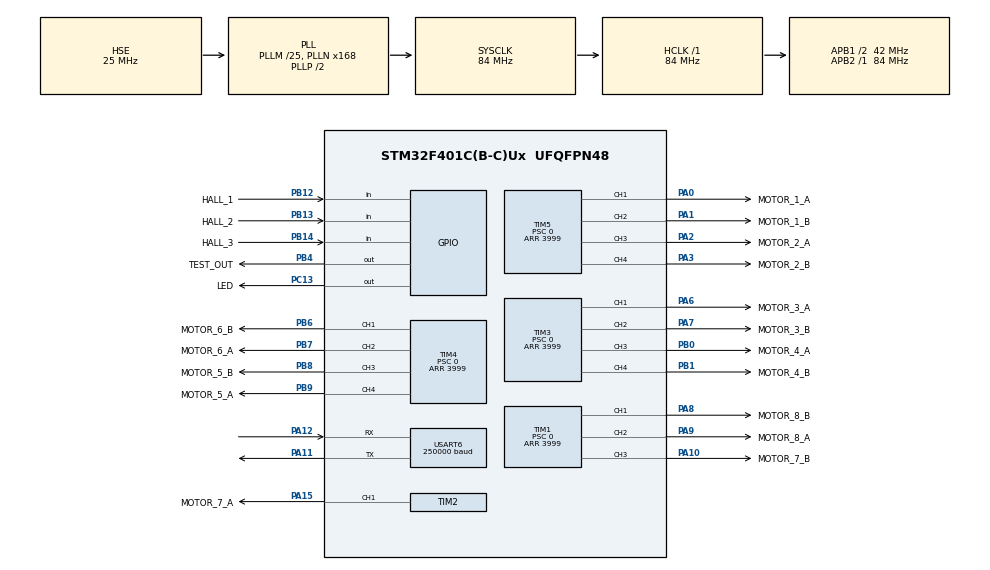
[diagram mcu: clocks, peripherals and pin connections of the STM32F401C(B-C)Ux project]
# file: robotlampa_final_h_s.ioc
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Mcu.Family=STM32F4
Mcu.Name=STM32F401C(B-C)Ux
Mcu.Package=UFQFPN48
NVIC.PriorityGroup=NVIC_PRIORITYGROUP_4
NVIC.TIM1_BRK_TIM9_IRQn=true\:0\:0\:false\:false\:true\:true\:true\:true
NVIC.TIM2_IRQn=true\:0\:0\:false\:false\:true\:true\:true\:true
NVIC.USART6_IRQn=true\:0\:0\:false\:false\:true\:true\:true\:true
PA0-WKUP.GPIO_Label=MOTOR_1_A
PA0-WKUP.GPIO_Speed=GPIO_SPEED_FREQ_VERY_HIGH
PA0-WKUP.Signal=S_TIM5_CH1
PA1.GPIO_Label=MOTOR_1_B
PA1.GPIO_Speed=GPIO_SPEED_FREQ_VERY_HIGH
PA1.Signal=S_TIM5_CH2
PA10.GPIO_Label=MOTOR_7_B
PA10.GPIO_Speed=GPIO_SPEED_FREQ_VERY_HIGH
PA10.Signal=S_TIM1_CH3
PA11.Mode=Asynchronous
PA11.Signal=USART6_TX
PA12.Mode=Asynchronous
PA12.Signal=USART6_RX
PA13.Mode=Serial_Wire
PA13.Signal=SYS_JTMS-SWDIO
PA14.Mode=Serial_Wire
PA14.Signal=SYS_JTCK-SWCLK
PA15.GPIO_Label=MOTOR_7_A
PA15.GPIO_Speed=GPIO_SPEED_FREQ_VERY_HIGH
PA15.Signal=S_TIM2_CH1_ETR
PA2.GPIO_Label=MOTOR_2_A
PA2.GPIO_Speed=GPIO_SPEED_FREQ_VERY_HIGH
PA2.Signal=S_TIM5_CH3
PA3.GPIO_Label=MOTOR_2_B
PA3.GPIO_Speed=GPIO_SPEED_FREQ_VERY_HIGH
PA3.Signal=S_TIM5_CH4
PA6.GPIO_Label=MOTOR_3_A
PA6.GPIO_Speed=GPIO_SPEED_FREQ_VERY_HIGH
PA6.Signal=S_TIM3_CH1
PA7.GPIO_Label=MOTOR_3_B
PA7.GPIO_Speed=GPIO_SPEED_FREQ_VERY_HIGH
PA7.Signal=S_TIM3_CH2
PA8.GPIO_Label=MOTOR_8_B
PA8.GPIO_Speed=GPIO_SPEED_FREQ_VERY_HIGH
PA8.Signal=S_TIM1_CH1
PA9.GPIO_Label=MOTOR_8_A
PA9.GPIO_Speed=GPIO_SPEED_FREQ_VERY_HIGH
PA9.Signal=S_TIM1_CH2
PB0.GPIO_Label=MOTOR_4_A
PB0.GPIO_Speed=GPIO_SPEED_FREQ_VERY_HIGH
PB0.Signal=S_TIM3_CH3
PB1.GPIO_Label=MOTOR_4_B
PB1.GPIO_Speed=GPIO_SPEED_FREQ_VERY_HIGH
PB1.Signal=S_TIM3_CH4
PB12.GPIO_Label=HALL_1
PB12.Signal=GPIO_Input
PB13.GPIO_Label=HALL_2
PB13.Signal=GPIO_Input
PB14.GPIO_Label=HALL_3
PB14.Signal=GPIO_Input
PB4.GPIO_Label=TEST_OUT
PB4.GPIO_Speed=GPIO_SPEED_FREQ_VERY_HIGH
PB4.Signal=GPIO_Output
PB6.GPIO_Label=MOTOR_6_B
PB6.GPIO_Speed=GPIO_SPEED_FREQ_VERY_HIGH
PB6.Signal=S_TIM4_CH1
PB7.GPIO_Label=MOTOR_6_A
PB7.GPIO_Speed=GPIO_SPEED_FREQ_VERY_HIGH
PB7.Signal=S_TIM4_CH2
PB8.GPIO_Label=MOTOR_5_B
PB8.GPIO_Speed=GPIO_SPEED_FREQ_VERY_HIGH
PB8.Signal=S_TIM4_CH3
PB9.GPIO_Label=MOTOR_5_A
PB9.GPIO_Speed=GPIO_SPEED_FREQ_VERY_HIGH
PB9.Signal=S_TIM4_CH4
PC13-ANTI_TAMP.GPIO_Label=LED
PC13-ANTI_TAMP.GPIO_Speed=GPIO_SPEED_FREQ_LOW
PC13-ANTI_TAMP.Signal=GPIO_Output
PH0\ -\ OSC_IN.Mode=HSE-External-Oscillator
PH0\ -\ OSC_IN.Signal=RCC_OSC_IN
PH1\ -\ OSC_OUT.Mode=HSE-External-Oscillator
PH1\ -\ OSC_OUT.Signal=RCC_OSC_OUT
ProjectManager.HeapSize=0x200
ProjectManager.StackSize=0x400
ProjectManager.TargetToolchain=STM32CubeIDE
RCC.48MHZClocksFreq_Value=42000000
RCC.AHBFreq_Value=84000000
RCC.APB1CLKDivider=RCC_HCLK_DIV2
RCC.APB1Freq_Value=42000000
RCC.APB1TimFreq_Value=84000000
RCC.APB2Freq_Value=84000000
RCC.APB2TimFreq_Value=84000000
RCC.CortexFreq_Value=84000000
RCC.HCLKFreq_Value=84000000
RCC.HSE_Timout=1000
RCC.HSE_VALUE=25000000
RCC.HSI_VALUE=16000000
RCC.LSE_Timout=10000
RCC.LSE_VALUE=32768
RCC.PLLM=25
RCC.PLLN=168
RCC.PLLSourceVirtual=RCC_PLLSOURCE_HSE
RCC.RCC_TIM_PRescaler_Selection=RCC_TIMPRES_DESACTIVATED
RCC.SYSCLKFreq_VALUE=84000000
RCC.SYSCLKSource=RCC_SYSCLKSOURCE_PLLCLK
RCC.VCOOutputFreq_Value=168000000
SH.S_TIM1_CH1.0=TIM1_CH1,PWM Generation1 CH1
SH.S_TIM1_CH2.0=TIM1_CH2,PWM Generation2 CH2
SH.S_TIM1_CH3.0=TIM1_CH3,PWM Generation3 CH3
SH.S_TIM2_CH1_ETR.0=TIM2_CH1,PWM Generation1 CH1
SH.S_TIM3_CH1.0=TIM3_CH1,PWM Generation1 CH1
SH.S_TIM3_CH2.0=TIM3_CH2,PWM Generation2 CH2
SH.S_TIM3_CH3.0=TIM3_CH3,PWM Generation3 CH3
SH.S_TIM3_CH4.0=TIM3_CH4,PWM Generation4 CH4
SH.S_TIM4_CH1.0=TIM4_CH1,PWM Generation1 CH1
SH.S_TIM4_CH2.0=TIM4_CH2,PWM Generation2 CH2
SH.S_TIM4_CH3.0=TIM4_CH3,PWM Generation3 CH3
SH.S_TIM4_CH4.0=TIM4_CH4,PWM Generation4 CH4
SH.S_TIM5_CH1.0=TIM5_CH1,PWM Generation1 CH1
SH.S_TIM5_CH2.0=TIM5_CH2,PWM Generation2 CH2
SH.S_TIM5_CH3.0=TIM5_CH3,PWM Generation3 CH3
SH.S_TIM5_CH4.0=TIM5_CH4,PWM Generation4 CH4
TIM1.AutoReloadPreload=TIM_AUTORELOAD_PRELOAD_ENABLE
TIM1.Channel-PWM\ Generation1\ CH1=TIM_CHANNEL_1
TIM1.Channel-PWM\ Generation2\ CH2=TIM_CHANNEL_2
TIM1.Channel-PWM\ Generation3\ CH3=TIM_CHANNEL_3
TIM1.Period=3999
TIM1.Prescaler=0
TIM2.AutoReloadPreload=TIM_AUTORELOAD_PRELOAD_ENABLE
TIM2.Channel-PWM\ Generation1\ CH1=TIM_CHANNEL_1
TIM2.Period=3999
TIM2.Prescaler=0
TIM3.AutoReloadPreload=TIM_AUTORELOAD_PRELOAD_ENABLE
TIM3.Channel-PWM\ Generation1\ CH1=TIM_CHANNEL_1
TIM3.Channel-PWM\ Generation2\ CH2=TIM_CHANNEL_2
TIM3.Channel-PWM\ Generation3\ CH3=TIM_CHANNEL_3
TIM3.Channel-PWM\ Generation4\ CH4=TIM_CHANNEL_4
TIM3.Period=3999
TIM3.Prescaler=0
TIM4.AutoReloadPreload=TIM_AUTORELOAD_PRELOAD_ENABLE
TIM4.Channel-PWM\ Generation1\ CH1=TIM_CHANNEL_1
TIM4.Channel-PWM\ Generation2\ CH2=TIM_CHANNEL_2
TIM4.Channel-PWM\ Generation3\ CH3=TIM_CHANNEL_3
TIM4.Channel-PWM\ Generation4\ CH4=TIM_CHANNEL_4
TIM4.Period=3999
TIM4.Prescaler=0
TIM5.AutoReloadPreload=TIM_AUTORELOAD_PRELOAD_ENABLE
TIM5.Channel-PWM\ Generation1\ CH1=TIM_CHANNEL_1
TIM5.Channel-PWM\ Generation2\ CH2=TIM_CHANNEL_2
TIM5.Channel-PWM\ Generation3\ CH3=TIM_CHANNEL_3
TIM5.Channel-PWM\ Generation4\ CH4=TIM_CHANNEL_4
TIM5.Period=3999
TIM5.Prescaler=0
TIM9.AutoReloadPreload=TIM_AUTORELOAD_PRELOAD_ENABLE
TIM9.Period=999
TIM9.Prescaler=83
USART6.BaudRate=250000
USART6.StopBits=STOPBITS_2
USART6.VirtualMode=VM_ASYNC
VP_TIM1_VS_ClockSourceINT.Mode=Internal
VP_TIM2_VS_ClockSourceINT.Mode=Internal
VP_TIM3_VS_ClockSourceINT.Mode=Internal
VP_TIM4_VS_ClockSourceINT.Mode=Internal
VP_TIM5_VS_ClockSourceINT.Mode=Internal
VP_TIM9_VS_ClockSourceINT.Mode=Internal
board=custom

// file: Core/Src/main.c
/* USER CODE BEGIN Header */
/**
  ******************************************************************************
  * @file           : main.c
  * @brief          : Main program body
  ******************************************************************************
  * @attention
  *
  * Copyright (c) 2025 STMicroelectronics.
  * All rights reserved.
  *
  * This software is licensed under terms that can be found in the LICENSE file
  * in the root directory of this software component.
  * If no LICENSE file comes with this software, it is provided AS-IS.
  *
  ******************************************************************************
  */
/* USER CODE END Header */
#include "main.h"

/* USER CODE BEGIN Includes */
#include <my_main.h>
#include <interrupt_s.h>
#include <dmx_usart_s.h>
//#include <motor_1_drive_s.h>
//#include <motor_2_drive_s.h>
/* USER CODE END Includes */

TIM_HandleTypeDef htim1;
TIM_HandleTypeDef htim2;
TIM_HandleTypeDef htim3;
TIM_HandleTypeDef htim4;
TIM_HandleTypeDef htim5;
TIM_HandleTypeDef htim9;

UART_HandleTypeDef huart6;

/* USER CODE BEGIN PV */
uint8_t rx_buffer;

/* USER CODE END PV */

void SystemClock_Config(void);
static void MX_GPIO_Init(void);
static void MX_TIM2_Init(void);
static void MX_USART6_UART_Init(void);
static void MX_TIM1_Init(void);
static void MX_TIM3_Init(void);
static void MX_TIM4_Init(void);
static void MX_TIM5_Init(void);
static void MX_TIM9_Init(void);

/* USER CODE BEGIN 0 */
void tmp_leds(uint16_t duty)
{/*
	__HAL_TIM_SET_COMPARE(&htim1, TIM_CHANNEL_1, duty); // 50%?
	__HAL_TIM_SET_COMPARE(&htim1, TIM_CHANNEL_2, duty); // 50%?
	__HAL_TIM_SET_COMPARE(&htim1, TIM_CHANNEL_3, duty); // 50%?
	__HAL_TIM_SET_COMPARE(&htim2, TIM_CHANNEL_1, duty); // 50%?

	__HAL_TIM_SET_COMPARE(&htim3, TIM_CHANNEL_1, duty); // 50%?
	__HAL_TIM_SET_COMPARE(&htim3, TIM_CHANNEL_2, duty); // 50%?
	__HAL_TIM_SET_COMPARE(&htim3, TIM_CHANNEL_3, duty); // 50%?
	__HAL_TIM_SET_COMPARE(&htim3, TIM_CHANNEL_4, duty); // 50%?

	__HAL_TIM_SET_COMPARE(&htim4, TIM_CHANNEL_1, duty); // 50%?
	__HAL_TIM_SET_COMPARE(&htim4, TIM_CHANNEL_2, duty); // 50%?
	__HAL_TIM_SET_COMPARE(&htim4, TIM_CHANNEL_3, duty); // 50%?
	__HAL_TIM_SET_COMPARE(&htim4, TIM_CHANNEL_4, duty); // 50%?

	__HAL_TIM_SET_COMPARE(&htim5, TIM_CHANNEL_1, duty); // 50%?
	__HAL_TIM_SET_COMPARE(&htim5, TIM_CHANNEL_2, duty); // 50%?
	__HAL_TIM_SET_COMPARE(&htim5, TIM_CHANNEL_3, duty); // 50%?
	__HAL_TIM_SET_COMPARE(&htim5, TIM_CHANNEL_4, duty); // 50%?*/
}
/* USER CODE END 0 */

int main(void)
{

  /* MCU Configuration--------------------------------------------------------*/

  /* Reset of all peripherals, Initializes the Flash interface and the Systick. */
  HAL_Init();

  /* Configure the system clock */
  SystemClock_Config();

  /* Initialize all configured peripherals */
  MX_GPIO_Init();
  MX_TIM2_Init();
  MX_USART6_UART_Init();
  MX_TIM1_Init();
  MX_TIM3_Init();
  MX_TIM4_Init();
  MX_TIM5_Init();
  MX_TIM9_Init();
  /* USER CODE BEGIN 2 */

  my_main_init();

  HAL_TIM_Base_Start_IT(&htim9);

  HAL_TIM_PWM_Start(&htim1, TIM_CHANNEL_1);
  HAL_TIM_PWM_Start(&htim1, TIM_CHANNEL_2);
  HAL_TIM_PWM_Start(&htim1, TIM_CHANNEL_3);
  HAL_TIM_PWM_Start(&htim2, TIM_CHANNEL_1);

  HAL_TIM_PWM_Start(&htim3, TIM_CHANNEL_1);
  HAL_TIM_PWM_Start(&htim3, TIM_CHANNEL_2);
  HAL_TIM_PWM_Start(&htim3, TIM_CHANNEL_3);
  HAL_TIM_PWM_Start(&htim3, TIM_CHANNEL_4);

  HAL_TIM_PWM_Start(&htim4, TIM_CHANNEL_1);
  HAL_TIM_PWM_Start(&htim4, TIM_CHANNEL_2);
  HAL_TIM_PWM_Start(&htim4, TIM_CHANNEL_3);
  HAL_TIM_PWM_Start(&htim4, TIM_CHANNEL_4);

  HAL_TIM_PWM_Start(&htim5, TIM_CHANNEL_1);
  HAL_TIM_PWM_Start(&htim5, TIM_CHANNEL_2);
  HAL_TIM_PWM_Start(&htim5, TIM_CHANNEL_3);
  HAL_TIM_PWM_Start(&htim5, TIM_CHANNEL_4);

  HAL_UART_Receive_IT(&huart6, &rx_buffer, 1);
  //HAL_TIM_Base_Start_IT(&htim2);
  //HAL_TIM_Base_Start_IT(&htim5);

  //__HAL_TIM_SET_COMPARE(&htim2, TIM_CHANNEL_1, PWM_ON_DUTY); // set pwm duty
  //HAL_TIM_PWM_Start(&htim2, TIM_CHANNEL_1);					 // start tim2 pwm channel
  //htim2.Instance->CR1 &= ~TIM_CR1_ARPE; 					 // ARPE = 0 → shadow OFF

  //__HAL_TIM_SET_COMPARE(&htim5, TIM_CHANNEL_2, PWM_ON_DUTY); // set pwm duty
  //HAL_TIM_PWM_Start(&htim5, TIM_CHANNEL_2);					 // start tim5 pwm channel
  //htim5.Instance->CR1 &= ~TIM_CR1_ARPE; 					 // ARPE = 0 → shadow OFF

  /* USER CODE END 2 */

  /* Infinite loop */
  /* USER CODE BEGIN WHILE */
  while (1)
  {
	  my_main_loop();

    /* USER CODE END WHILE */

  }
}

void SystemClock_Config(void)
{
  RCC_OscInitTypeDef RCC_OscInitStruct = {0};
  RCC_ClkInitTypeDef RCC_ClkInitStruct = {0};

  /** Configure the main internal regulator output voltage
  */
  __HAL_RCC_PWR_CLK_ENABLE();
  __HAL_PWR_VOLTAGESCALING_CONFIG(PWR_REGULATOR_VOLTAGE_SCALE2);

  /** Initializes the RCC Oscillators according to the specified parameters
  * in the RCC_OscInitTypeDef structure.
  */
  RCC_OscInitStruct.OscillatorType = RCC_OSCILLATORTYPE_HSE;
  RCC_OscInitStruct.HSEState = RCC_HSE_ON;
  RCC_OscInitStruct.PLL.PLLState = RCC_PLL_ON;
  RCC_OscInitStruct.PLL.PLLSource = RCC_PLLSOURCE_HSE;
  RCC_OscInitStruct.PLL.PLLM = 25;
  RCC_OscInitStruct.PLL.PLLN = 168;
  RCC_OscInitStruct.PLL.PLLP = RCC_PLLP_DIV2;
  RCC_OscInitStruct.PLL.PLLQ = 4;
  if (HAL_RCC_OscConfig(&RCC_OscInitStruct) != HAL_OK)
  {
    Error_Handler();
  }

  /** Initializes the CPU, AHB and APB buses clocks
  */
  RCC_ClkInitStruct.ClockType = RCC_CLOCKTYPE_HCLK|RCC_CLOCKTYPE_SYSCLK
                              |RCC_CLOCKTYPE_PCLK1|RCC_CLOCKTYPE_PCLK2;
  RCC_ClkInitStruct.SYSCLKSource = RCC_SYSCLKSOURCE_PLLCLK;
  RCC_ClkInitStruct.AHBCLKDivider = RCC_SYSCLK_DIV1;
  RCC_ClkInitStruct.APB1CLKDivider = RCC_HCLK_DIV2;
  RCC_ClkInitStruct.APB2CLKDivider = RCC_HCLK_DIV1;

  if (HAL_RCC_ClockConfig(&RCC_ClkInitStruct, FLASH_LATENCY_2) != HAL_OK)
  {
    Error_Handler();
  }
}

static void MX_TIM1_Init(void)
{

  TIM_ClockConfigTypeDef sClockSourceConfig = {0};
  TIM_MasterConfigTypeDef sMasterConfig = {0};
  TIM_OC_InitTypeDef sConfigOC = {0};
  TIM_BreakDeadTimeConfigTypeDef sBreakDeadTimeConfig = {0};

  htim1.Instance = TIM1;
  htim1.Init.Prescaler = 0;
  htim1.Init.CounterMode = TIM_COUNTERMODE_UP;
  htim1.Init.Period = 3999;
  htim1.Init.ClockDivision = TIM_CLOCKDIVISION_DIV1;
  htim1.Init.RepetitionCounter = 0;
  htim1.Init.AutoReloadPreload = TIM_AUTORELOAD_PRELOAD_ENABLE;
  if (HAL_TIM_Base_Init(&htim1) != HAL_OK)
  {
    Error_Handler();
  }
  sClockSourceConfig.ClockSource = TIM_CLOCKSOURCE_INTERNAL;
  if (HAL_TIM_ConfigClockSource(&htim1, &sClockSourceConfig) != HAL_OK)
  {
    Error_Handler();
  }
  if (HAL_TIM_PWM_Init(&htim1) != HAL_OK)
  {
    Error_Handler();
  }
  sMasterConfig.MasterOutputTrigger = TIM_TRGO_RESET;
  sMasterConfig.MasterSlaveMode = TIM_MASTERSLAVEMODE_DISABLE;
  if (HAL_TIMEx_MasterConfigSynchronization(&htim1, &sMasterConfig) != HAL_OK)
  {
    Error_Handler();
  }
  sConfigOC.OCMode = TIM_OCMODE_PWM1;
  sConfigOC.Pulse = 0;
  sConfigOC.OCPolarity = TIM_OCPOLARITY_HIGH;
  sConfigOC.OCNPolarity = TIM_OCNPOLARITY_HIGH;
  sConfigOC.OCFastMode = TIM_OCFAST_DISABLE;
  sConfigOC.OCIdleState = TIM_OCIDLESTATE_RESET;
  sConfigOC.OCNIdleState = TIM_OCNIDLESTATE_RESET;
  if (HAL_TIM_PWM_ConfigChannel(&htim1, &sConfigOC, TIM_CHANNEL_1) != HAL_OK)
  {
    Error_Handler();
  }
  if (HAL_TIM_PWM_ConfigChannel(&htim1, &sConfigOC, TIM_CHANNEL_2) != HAL_OK)
  {
    Error_Handler();
  }
  if (HAL_TIM_PWM_ConfigChannel(&htim1, &sConfigOC, TIM_CHANNEL_3) != HAL_OK)
  {
    Error_Handler();
  }
  sBreakDeadTimeConfig.OffStateRunMode = TIM_OSSR_DISABLE;
  sBreakDeadTimeConfig.OffStateIDLEMode = TIM_OSSI_DISABLE;
  sBreakDeadTimeConfig.LockLevel = TIM_LOCKLEVEL_OFF;
  sBreakDeadTimeConfig.DeadTime = 0;
  sBreakDeadTimeConfig.BreakState = TIM_BREAK_DISABLE;
  sBreakDeadTimeConfig.BreakPolarity = TIM_BREAKPOLARITY_HIGH;
  sBreakDeadTimeConfig.AutomaticOutput = TIM_AUTOMATICOUTPUT_DISABLE;
  if (HAL_TIMEx_ConfigBreakDeadTime(&htim1, &sBreakDeadTimeConfig) != HAL_OK)
  {
    Error_Handler();
  }
  HAL_TIM_MspPostInit(&htim1);

}

static void MX_TIM2_Init(void)
{

  TIM_ClockConfigTypeDef sClockSourceConfig = {0};
  TIM_MasterConfigTypeDef sMasterConfig = {0};
  TIM_OC_InitTypeDef sConfigOC = {0};

  htim2.Instance = TIM2;
  htim2.Init.Prescaler = 0;
  htim2.Init.CounterMode = TIM_COUNTERMODE_UP;
  htim2.Init.Period = 3999;
  htim2.Init.ClockDivision = TIM_CLOCKDIVISION_DIV1;
  htim2.Init.AutoReloadPreload = TIM_AUTORELOAD_PRELOAD_ENABLE;
  if (HAL_TIM_Base_Init(&htim2) != HAL_OK)
  {
    Error_Handler();
  }
  sClockSourceConfig.ClockSource = TIM_CLOCKSOURCE_INTERNAL;
  if (HAL_TIM_ConfigClockSource(&htim2, &sClockSourceConfig) != HAL_OK)
  {
    Error_Handler();
  }
  if (HAL_TIM_PWM_Init(&htim2) != HAL_OK)
  {
    Error_Handler();
  }
  sMasterConfig.MasterOutputTrigger = TIM_TRGO_RESET;
  sMasterConfig.MasterSlaveMode = TIM_MASTERSLAVEMODE_DISABLE;
  if (HAL_TIMEx_MasterConfigSynchronization(&htim2, &sMasterConfig) != HAL_OK)
  {
    Error_Handler();
  }
  sConfigOC.OCMode = TIM_OCMODE_PWM1;
  sConfigOC.Pulse = 0;
  sConfigOC.OCPolarity = TIM_OCPOLARITY_HIGH;
  sConfigOC.OCFastMode = TIM_OCFAST_DISABLE;
  if (HAL_TIM_PWM_ConfigChannel(&htim2, &sConfigOC, TIM_CHANNEL_1) != HAL_OK)
  {
    Error_Handler();
  }
  HAL_TIM_MspPostInit(&htim2);

}

static void MX_TIM3_Init(void)
{

  TIM_ClockConfigTypeDef sClockSourceConfig = {0};
  TIM_MasterConfigTypeDef sMasterConfig = {0};
  TIM_OC_InitTypeDef sConfigOC = {0};

  htim3.Instance = TIM3;
  htim3.Init.Prescaler = 0;
  htim3.Init.CounterMode = TIM_COUNTERMODE_UP;
  htim3.Init.Period = 3999;
  htim3.Init.ClockDivision = TIM_CLOCKDIVISION_DIV1;
  htim3.Init.AutoReloadPreload = TIM_AUTORELOAD_PRELOAD_ENABLE;
  if (HAL_TIM_Base_Init(&htim3) != HAL_OK)
  {
    Error_Handler();
  }
  sClockSourceConfig.ClockSource = TIM_CLOCKSOURCE_INTERNAL;
  if (HAL_TIM_ConfigClockSource(&htim3, &sClockSourceConfig) != HAL_OK)
  {
    Error_Handler();
  }
  if (HAL_TIM_PWM_Init(&htim3) != HAL_OK)
  {
    Error_Handler();
  }
  sMasterConfig.MasterOutputTrigger = TIM_TRGO_RESET;
  sMasterConfig.MasterSlaveMode = TIM_MASTERSLAVEMODE_DISABLE;
  if (HAL_TIMEx_MasterConfigSynchronization(&htim3, &sMasterConfig) != HAL_OK)
  {
    Error_Handler();
  }
  sConfigOC.OCMode = TIM_OCMODE_PWM1;
  sConfigOC.Pulse = 0;
  sConfigOC.OCPolarity = TIM_OCPOLARITY_HIGH;
  sConfigOC.OCFastMode = TIM_OCFAST_DISABLE;
  if (HAL_TIM_PWM_ConfigChannel(&htim3, &sConfigOC, TIM_CHANNEL_1) != HAL_OK)
  {
    Error_Handler();
  }
  if (HAL_TIM_PWM_ConfigChannel(&htim3, &sConfigOC, TIM_CHANNEL_2) != HAL_OK)
  {
    Error_Handler();
  }
  if (HAL_TIM_PWM_ConfigChannel(&htim3, &sConfigOC, TIM_CHANNEL_3) != HAL_OK)
  {
    Error_Handler();
  }
  if (HAL_TIM_PWM_ConfigChannel(&htim3, &sConfigOC, TIM_CHANNEL_4) != HAL_OK)
  {
    Error_Handler();
  }
  HAL_TIM_MspPostInit(&htim3);

}

static void MX_TIM4_Init(void)
{

  TIM_ClockConfigTypeDef sClockSourceConfig = {0};
  TIM_MasterConfigTypeDef sMasterConfig = {0};
  TIM_OC_InitTypeDef sConfigOC = {0};

  htim4.Instance = TIM4;
  htim4.Init.Prescaler = 0;
  htim4.Init.CounterMode = TIM_COUNTERMODE_UP;
  htim4.Init.Period = 3999;
  htim4.Init.ClockDivision = TIM_CLOCKDIVISION_DIV1;
  htim4.Init.AutoReloadPreload = TIM_AUTORELOAD_PRELOAD_ENABLE;
  if (HAL_TIM_Base_Init(&htim4) != HAL_OK)
  {
    Error_Handler();
  }
  sClockSourceConfig.ClockSource = TIM_CLOCKSOURCE_INTERNAL;
  if (HAL_TIM_ConfigClockSource(&htim4, &sClockSourceConfig) != HAL_OK)
  {
    Error_Handler();
  }
  if (HAL_TIM_PWM_Init(&htim4) != HAL_OK)
  {
    Error_Handler();
  }
  sMasterConfig.MasterOutputTrigger = TIM_TRGO_RESET;
  sMasterConfig.MasterSlaveMode = TIM_MASTERSLAVEMODE_DISABLE;
  if (HAL_TIMEx_MasterConfigSynchronization(&htim4, &sMasterConfig) != HAL_OK)
  {
    Error_Handler();
  }
  sConfigOC.OCMode = TIM_OCMODE_PWM1;
  sConfigOC.Pulse = 0;
  sConfigOC.OCPolarity = TIM_OCPOLARITY_HIGH;
  sConfigOC.OCFastMode = TIM_OCFAST_DISABLE;
  if (HAL_TIM_PWM_ConfigChannel(&htim4, &sConfigOC, TIM_CHANNEL_1) != HAL_OK)
  {
    Error_Handler();
  }
  if (HAL_TIM_PWM_ConfigChannel(&htim4, &sConfigOC, TIM_CHANNEL_2) != HAL_OK)
  {
    Error_Handler();
  }
  if (HAL_TIM_PWM_ConfigChannel(&htim4, &sConfigOC, TIM_CHANNEL_3) != HAL_OK)
  {
    Error_Handler();
  }
  if (HAL_TIM_PWM_ConfigChannel(&htim4, &sConfigOC, TIM_CHANNEL_4) != HAL_OK)
  {
    Error_Handler();
  }
  HAL_TIM_MspPostInit(&htim4);

}

static void MX_TIM5_Init(void)
{

  TIM_ClockConfigTypeDef sClockSourceConfig = {0};
  TIM_MasterConfigTypeDef sMasterConfig = {0};
  TIM_OC_InitTypeDef sConfigOC = {0};

  htim5.Instance = TIM5;
  htim5.Init.Prescaler = 0;
  htim5.Init.CounterMode = TIM_COUNTERMODE_UP;
  htim5.Init.Period = 3999;
  htim5.Init.ClockDivision = TIM_CLOCKDIVISION_DIV1;
  htim5.Init.AutoReloadPreload = TIM_AUTORELOAD_PRELOAD_ENABLE;
  if (HAL_TIM_Base_Init(&htim5) != HAL_OK)
  {
    Error_Handler();
  }
  sClockSourceConfig.ClockSource = TIM_CLOCKSOURCE_INTERNAL;
  if (HAL_TIM_ConfigClockSource(&htim5, &sClockSourceConfig) != HAL_OK)
  {
    Error_Handler();
  }
  if (HAL_TIM_PWM_Init(&htim5) != HAL_OK)
  {
    Error_Handler();
  }
  sMasterConfig.MasterOutputTrigger = TIM_TRGO_RESET;
  sMasterConfig.MasterSlaveMode = TIM_MASTERSLAVEMODE_DISABLE;
  if (HAL_TIMEx_MasterConfigSynchronization(&htim5, &sMasterConfig) != HAL_OK)
  {
    Error_Handler();
  }
  sConfigOC.OCMode = TIM_OCMODE_PWM1;
  sConfigOC.Pulse = 0;
  sConfigOC.OCPolarity = TIM_OCPOLARITY_HIGH;
  sConfigOC.OCFastMode = TIM_OCFAST_DISABLE;
  if (HAL_TIM_PWM_ConfigChannel(&htim5, &sConfigOC, TIM_CHANNEL_1) != HAL_OK)
  {
    Error_Handler();
  }
  if (HAL_TIM_PWM_ConfigChannel(&htim5, &sConfigOC, TIM_CHANNEL_2) != HAL_OK)
  {
    Error_Handler();
  }
  if (HAL_TIM_PWM_ConfigChannel(&htim5, &sConfigOC, TIM_CHANNEL_3) != HAL_OK)
  {
    Error_Handler();
  }
  if (HAL_TIM_PWM_ConfigChannel(&htim5, &sConfigOC, TIM_CHANNEL_4) != HAL_OK)
  {
    Error_Handler();
  }
  HAL_TIM_MspPostInit(&htim5);

}

static void MX_TIM9_Init(void)
{

  TIM_ClockConfigTypeDef sClockSourceConfig = {0};

  htim9.Instance = TIM9;
  htim9.Init.Prescaler = 83;
  htim9.Init.CounterMode = TIM_COUNTERMODE_UP;
  htim9.Init.Period = 999;
  htim9.Init.ClockDivision = TIM_CLOCKDIVISION_DIV1;
  htim9.Init.AutoReloadPreload = TIM_AUTORELOAD_PRELOAD_ENABLE;
  if (HAL_TIM_Base_Init(&htim9) != HAL_OK)
  {
    Error_Handler();
  }
  sClockSourceConfig.ClockSource = TIM_CLOCKSOURCE_INTERNAL;
  if (HAL_TIM_ConfigClockSource(&htim9, &sClockSourceConfig) != HAL_OK)
  {
    Error_Handler();
  }

}

static void MX_USART6_UART_Init(void)
{

  huart6.Instance = USART6;
  huart6.Init.BaudRate = 250000;
  huart6.Init.WordLength = UART_WORDLENGTH_8B;
  huart6.Init.StopBits = UART_STOPBITS_2;
  huart6.Init.Parity = UART_PARITY_NONE;
  huart6.Init.Mode = UART_MODE_TX_RX;
  huart6.Init.HwFlowCtl = UART_HWCONTROL_NONE;
  huart6.Init.OverSampling = UART_OVERSAMPLING_16;
  if (HAL_UART_Init(&huart6) != HAL_OK)
  {
    Error_Handler();
  }

}

static void MX_GPIO_Init(void)
{
  GPIO_InitTypeDef GPIO_InitStruct = {0};

  /* GPIO Ports Clock Enable */
  __HAL_RCC_GPIOC_CLK_ENABLE();
  __HAL_RCC_GPIOH_CLK_ENABLE();
  __HAL_RCC_GPIOA_CLK_ENABLE();
  __HAL_RCC_GPIOB_CLK_ENABLE();

  /*Configure GPIO pin Output Level */
  HAL_GPIO_WritePin(LED_GPIO_Port, LED_Pin, GPIO_PIN_RESET);

  /*Configure GPIO pin Output Level */
  HAL_GPIO_WritePin(TEST_OUT_GPIO_Port, TEST_OUT_Pin, GPIO_PIN_RESET);

  /*Configure GPIO pin : LED_Pin */
  GPIO_InitStruct.Pin = LED_Pin;
  GPIO_InitStruct.Mode = GPIO_MODE_OUTPUT_PP;
  GPIO_InitStruct.Pull = GPIO_NOPULL;
  GPIO_InitStruct.Speed = GPIO_SPEED_FREQ_LOW;
  HAL_GPIO_Init(LED_GPIO_Port, &GPIO_InitStruct);

  /*Configure GPIO pins : HALL_1_Pin HALL_2_Pin HALL_3_Pin */
  GPIO_InitStruct.Pin = HALL_1_Pin|HALL_2_Pin|HALL_3_Pin;
  GPIO_InitStruct.Mode = GPIO_MODE_INPUT;
  GPIO_InitStruct.Pull = GPIO_NOPULL;
  HAL_GPIO_Init(GPIOB, &GPIO_InitStruct);

  /*Configure GPIO pin : TEST_OUT_Pin */
  GPIO_InitStruct.Pin = TEST_OUT_Pin;
  GPIO_InitStruct.Mode = GPIO_MODE_OUTPUT_PP;
  GPIO_InitStruct.Pull = GPIO_NOPULL;
  GPIO_InitStruct.Speed = GPIO_SPEED_FREQ_VERY_HIGH;
  HAL_GPIO_Init(TEST_OUT_GPIO_Port, &GPIO_InitStruct);

}

/* USER CODE BEGIN 4 */

void HAL_TIM_PeriodElapsedCallback(TIM_HandleTypeDef *htim)
{
    if (htim->Instance == TIM9)
    {
    	motor_refresh_IT();
    }
}

void set_pwm_duty(uint8_t pwm_num, uint16_t duty)
{
	switch (pwm_num) {
		case 0:
			__HAL_TIM_SET_COMPARE(&htim1, TIM_CHANNEL_1, duty);
			break;
		case 1:
			__HAL_TIM_SET_COMPARE(&htim1, TIM_CHANNEL_2, duty);
			break;
		case 2:
			__HAL_TIM_SET_COMPARE(&htim1, TIM_CHANNEL_3, duty);
			break;
		case 3:
			__HAL_TIM_SET_COMPARE(&htim2, TIM_CHANNEL_1, duty);
			break;
		case 4:
			__HAL_TIM_SET_COMPARE(&htim3, TIM_CHANNEL_1, duty);
			break;
		case 5:
			__HAL_TIM_SET_COMPARE(&htim3, TIM_CHANNEL_2, duty);
			break;
		case 6:
			__HAL_TIM_SET_COMPARE(&htim3, TIM_CHANNEL_3, duty);
			break;
		case 7:
			__HAL_TIM_SET_COMPARE(&htim3, TIM_CHANNEL_4, duty);
			break;
		case 8:
			__HAL_TIM_SET_COMPARE(&htim4, TIM_CHANNEL_1, duty);
			break;
		case 9:
			__HAL_TIM_SET_COMPARE(&htim4, TIM_CHANNEL_2, duty);
			break;
		case 10:
			__HAL_TIM_SET_COMPARE(&htim4, TIM_CHANNEL_3, duty);
			break;
		case 11:
			__HAL_TIM_SET_COMPARE(&htim4, TIM_CHANNEL_4, duty);
			break;
		case 12:
			__HAL_TIM_SET_COMPARE(&htim5, TIM_CHANNEL_1, duty);
			break;
		case 13:
			__HAL_TIM_SET_COMPARE(&htim5, TIM_CHANNEL_2, duty);
			break;
		case 14:
			__HAL_TIM_SET_COMPARE(&htim5, TIM_CHANNEL_3, duty);
			break;
		case 15:
			__HAL_TIM_SET_COMPARE(&htim5, TIM_CHANNEL_4, duty);
		default:
			break;
	}
}
/*
void HAL_GPIO_EXTI_Callback(uint16_t GPIO_Pin)			// gombok interrupt callback
{
	ISR_GPIO_EXTI_Callback(GPIO_Pin);
}*/

void HAL_UART_RxCpltCallback(UART_HandleTypeDef *huart)
{
	static uint32_t current_time = 0;
	static uint32_t prev_time = 0;
	static uint32_t interval = 10;

	if (huart->Instance == USART6)						// usart 1 receive
	{

		current_time = HAL_GetTick();

		if ((uint32_t)(current_time - prev_time)>= interval)
		{
			usart_rx_fe_callback(); // ha ido nagyobb mint 7
		}else
		{
			usart_rx_callback(rx_buffer);
		}

		prev_time = current_time;
		HAL_UART_Receive_IT(&huart6, &rx_buffer, 1);	// start IT
	}
}
/*
void HAL_UART_ErrorCallback(UART_HandleTypeDef *huart)
{
	if (huart->Instance == USART1)						// usart 1 error callback
	{
		usart_rx_fe_callback();							// --> dmx_usart, reset frame
		HAL_UART_Receive_IT(&huart1, &rx_buffer, 1);	// start IT
	}
}

void usart_transmit(uint8_t *data)
{
	HAL_UART_Transmit(&huart1, data, 1, 10);
}*/
/*
void tim_2_set_duty(uint8_t duty)
{
	if(duty) __HAL_TIM_SET_COMPARE(&htim2, TIM_CHANNEL_1, PWM_ON_DUTY);
	else 	 __HAL_TIM_SET_COMPARE(&htim2, TIM_CHANNEL_1, PWM_OFF_DUTY);
}

uint32_t tim_2_get_value(void)
{
	return __HAL_TIM_GET_COUNTER(&htim2);
}

void tim_2_set_period(uint32_t period)
{
	__HAL_TIM_SET_AUTORELOAD(&htim2, period);
}

uint32_t tim_5_get_value(void)
{
	return __HAL_TIM_GET_COUNTER(&htim5);
}

void tim_5_set_duty(uint8_t duty)
{
	if(duty) __HAL_TIM_SET_COMPARE(&htim5, TIM_CHANNEL_2, PWM_ON_DUTY);
	else 	 __HAL_TIM_SET_COMPARE(&htim5, TIM_CHANNEL_2, PWM_OFF_DUTY);
}

void tim_5_set_period(uint32_t period)
{
	__HAL_TIM_SET_AUTORELOAD(&htim5, period);
}

void HAL_TIM_PeriodElapsedCallback(TIM_HandleTypeDef *htim)
{
    if(htim->Instance == TIM2)
    {
    	// motor_1_drive --> interrupt függvénye
    	motor_1_update_timer();
    }

    if(htim->Instance == TIM5)
	{
		// motor_2_drive --> interrupt függvénye
		motor_2_update_timer();
	}
}*/
/* USER CODE END 4 */

void Error_Handler(void)
{
  __disable_irq();
  while (1)
  {
  }
}
